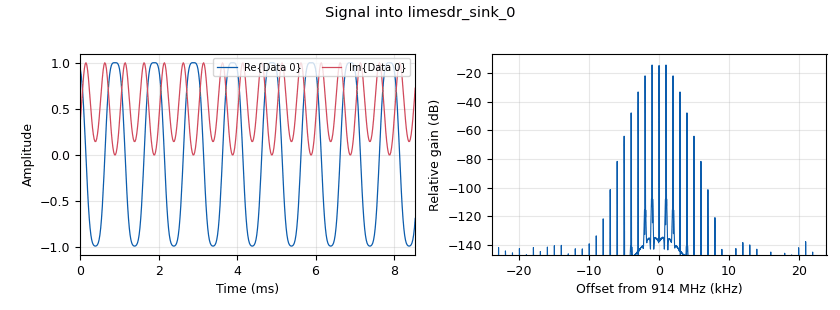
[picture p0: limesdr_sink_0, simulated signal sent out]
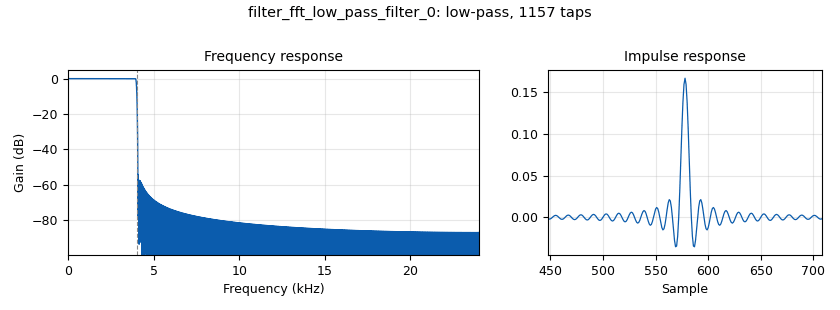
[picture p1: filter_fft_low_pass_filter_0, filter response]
options:
  parameters:
    author: ciaran
    generate_options: qt_gui
    id: capstone_final
    output_language: python
    title: Capstone Prototype
  states: {}

blocks:
- name: samp_rate
  id: variable
  parameters:
    value: 48e3
  states: {}
- name: analog_frequency_modulator_fc_0
  id: analog_frequency_modulator_fc
  parameters:
    sensitivity: 2*3.14159*(5e3)/samp_rate
  states: {}
- name: analog_sig_source_x_0
  id: analog_sig_source_x
  parameters:
    amp: '0.3'
    freq: '1000'
    offset: '0'
    phase: '0'
    samp_rate: samp_rate
    type: float
    waveform: analog.GR_SIN_WAVE
  states: {}
- name: blocks_throttle2_0
  id: blocks_throttle2
  parameters:
    samples_per_second: samp_rate
    type: complex
  states: {}
- name: blocks_throttle2_1
  id: blocks_throttle2
  parameters:
    samples_per_second: samp_rate
    type: complex
  states: {}
- name: filter_fft_low_pass_filter_0
  id: filter_fft_low_pass_filter
  parameters:
    cutoff_freq: 4e3
    decim: '1'
    gain: '1'
    samp_rate: samp_rate
    type: ccc
    width: '100'
    win: window.WIN_HAMMING
  states: {}
- name: limesdr_sink_0
  id: limesdr_sink
  parameters:
    allow_tcxo_dac: '0'
    channel_mode: '0'
    oversample: '0'
    rf_freq: 914e6
    samp_rate: samp_rate
  states: {}
- name: limesdr_source_0
  id: limesdr_source
  parameters:
    allow_tcxo_dac: '0'
    ch_align: 'False'
    channel_mode: '0'
    lna_path_ch0: '2'
    oversample: '0'
    rf_freq: 914e6
    samp_rate: samp_rate
  states: {}

connections:
- [analog_frequency_modulator_fc_0, '0', blocks_throttle2_0, '0']
- [analog_sig_source_x_0, '0', analog_frequency_modulator_fc_0, '0']
- [blocks_throttle2_0, '0', limesdr_sink_0, '0']
- [filter_fft_low_pass_filter_0, '0', blocks_throttle2_1, '0']
- [limesdr_source_0, '0', filter_fft_low_pass_filter_0, '0']

metadata:
  file_format: 1
  grc_version: 3.10.9.2
